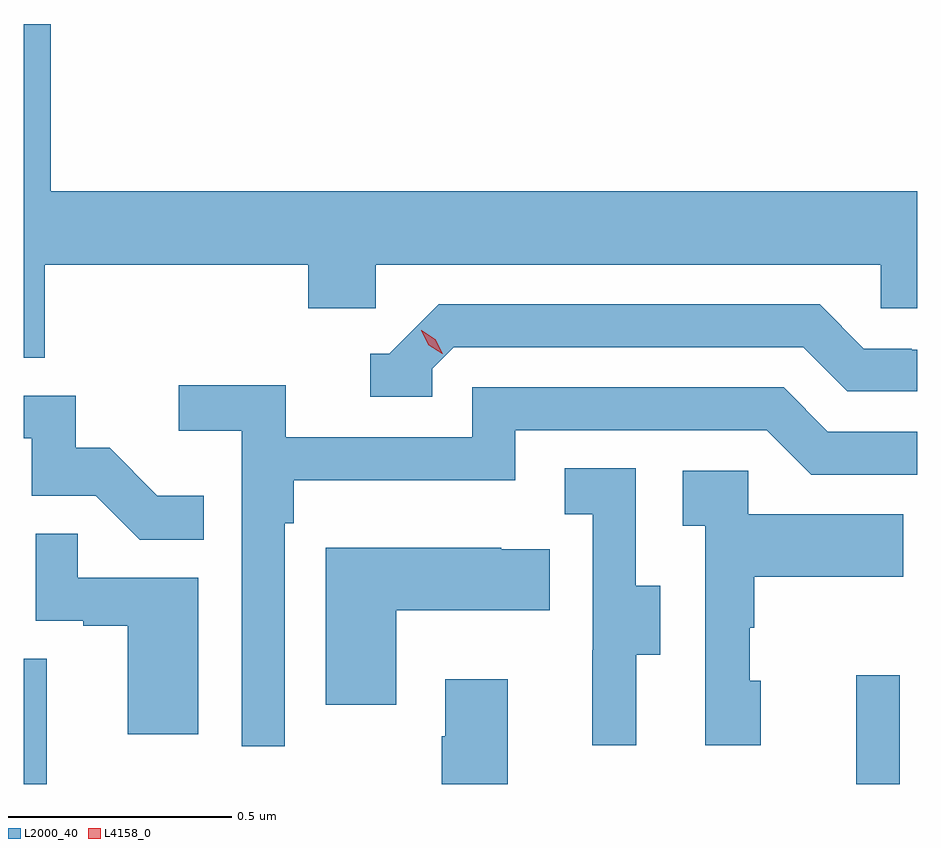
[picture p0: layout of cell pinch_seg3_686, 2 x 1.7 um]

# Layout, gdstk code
import gdstk
lib = gdstk.Library(unit=1e-6, precision=1e-09)
def R(c, l, rs):  # rectangles x0, y0, x1, y1
    for r in rs: c.add(gdstk.rectangle(r[:2], r[2:], *l))
def P(c, l, *ps):  # polygons
    for p in ps: c.add(gdstk.Polygon(p, *l))
L2000_40 = (2000, 40)
L4158_0 = (4158, 0)

pinch_seg3_686 = lib.new_cell('pinch_seg3_686')
R(pinch_seg3_686, L2000_40, [(1142.134,670.449,1142.185,670.73), (1143.998,670.449,1144.095,670.693)])
P(pinch_seg3_686, L2000_40, [(1142.18,671.612),(1142.771,671.612),(1142.771,671.514),(1142.922,671.514),(1142.922,671.612),(1144.053,671.612),(1144.053,671.514),(1144.134,671.514),(1144.134,671.776),(1142.194,671.776),(1142.194,672.151),(1142.134,672.151),(1142.134,671.404),(1142.18,671.404)],
  [(1143.048,671.379),(1143.096,671.427),(1143.879,671.427),(1143.978,671.328),(1144.134,671.328),(1144.134,671.421),(1144.122,671.421),(1144.122,671.424),(1144.015,671.424),(1143.916,671.523),(1143.063,671.523),(1142.952,671.412),(1142.909,671.412),(1142.909,671.316),(1143.048,671.316)],
  [(1142.718,671.033),(1142.738,671.033),(1142.738,671.129),(1143.234,671.129),(1143.234,671.241),(1143.798,671.241),(1143.897,671.142),(1144.134,671.142),(1144.134,671.238),(1143.934,671.238),(1143.835,671.337),(1143.138,671.337),(1143.138,671.226),(1142.72,671.226),(1142.72,671.342),(1142.481,671.342),(1142.481,671.24),(1142.622,671.24),(1142.622,670.533),(1142.718,670.533)],
  [(1142.537,671.095),(1142.433,671.095),(1142.326,671.202),(1142.25,671.202),(1142.25,671.319),(1142.134,671.319),(1142.134,671.223),(1142.151,671.223),(1142.151,671.094),(1142.295,671.094),(1142.393,670.996),(1142.537,670.996)],
  [(1143.505,670.738),(1143.559,670.738),(1143.559,670.893),(1143.504,670.893),(1143.504,671.156),(1143.345,671.156),(1143.345,671.053),(1143.408,671.053),(1143.408,670.749),(1143.407,670.749),(1143.407,670.536),(1143.505,670.536)],
  [(1143.784,670.68),(1143.759,670.68),(1143.759,670.799),(1143.769,670.799),(1143.769,670.913),(1144.103,670.913),(1144.103,671.053),(1143.756,671.053),(1143.756,671.151),(1143.609,671.151),(1143.609,671.027),(1143.66,671.027),(1143.66,670.536),(1143.784,670.536)],
  [(1142.524,670.911),(1142.255,670.911),(1142.255,671.009),(1142.16,671.009),(1142.16,670.815),(1142.267,670.815),(1142.267,670.803),(1142.366,670.803),(1142.366,670.56),(1142.524,670.56)],
  [(1142.968,670.838),(1143.311,670.838),(1143.311,670.975),(1143.203,670.975),(1143.203,670.978),(1142.81,670.978),(1142.81,670.626),(1142.968,670.626)],
  [(1143.217,670.684),(1143.077,670.684),(1143.077,670.556),(1143.07,670.556),(1143.07,670.449),(1143.217,670.449)])
P(pinch_seg3_686, L4158_0, [(1143.071,671.413),(1143.041,671.432),(1143.024,671.464),(1143.024,671.465),(1143.025,671.465),(1143.055,671.445),(1143.072,671.413),(1143.072,671.413)])

lib.write_gds('pinch_seg3_686.gds')
